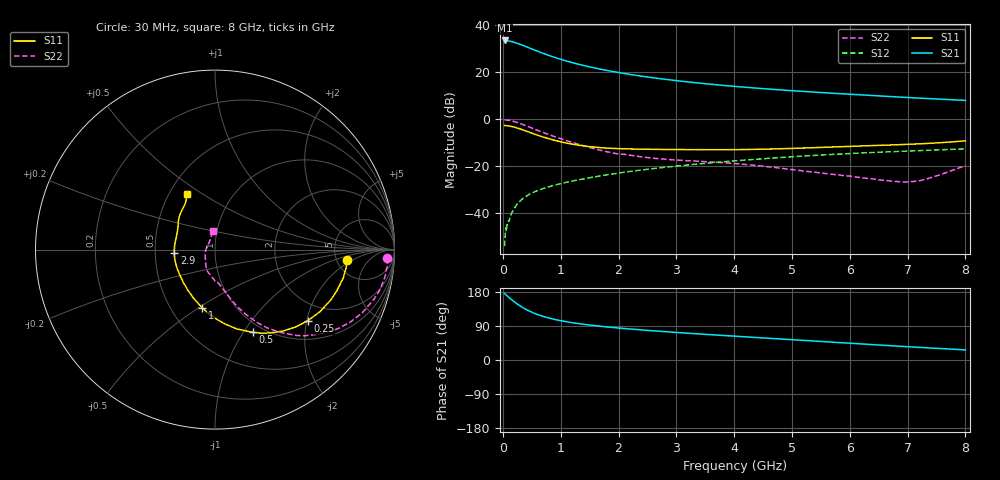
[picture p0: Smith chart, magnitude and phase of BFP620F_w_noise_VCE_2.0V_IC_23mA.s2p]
! Infineon Technologies  Discrete & RF Semiconductors
! BFP620F
! VCE =  2.0 V,  IC =  23 mA
! Common Emitter S-Parameters:  Dec 2014
# GHz  S  MA  R  50
!  f  S11  S21  S12  S22
! GHz  MAG  ANG  MAG  ANG  MAG  ANG  MAG  ANG
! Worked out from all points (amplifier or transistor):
!   95 points, 30 MHz to 8 GHz, reference 50 ohm
!   highest |S21| = 33.5 dB at 30 MHz (marker M1)
!   |S21| within 3 dB of that: start of sweep to 438.8 MHz
!   unconditionally stable (mu >= 1): 2.735 GHz to end of sweep
!   at 300 MHz: K = 0.34, MSG = 33.3 dB, |S12| = -34.7 dB
!   at 3.3 GHz: K = 1.02, MAG = 16.6 dB, |S12| = -19.2 dB
!   at 8 GHz: K = 1.06, MAG = 8.8 dB, |S12| = -12.6 dB
!   lowest NFmin = 0.94 dB at 450 MHz
!   S11 on the Smith chart (normalised r, x): 30 MHz: 6.13, -1.61; 250 MHz: 1.47, -2.03; 500 MHz: 0.89, -1.10; 1 GHz: 0.71, -0.52; 2.9 GHz: 0.63, -0.03; 8 GHz: 0.61, +0.43
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0.03  0.7356 -4.7  47.53 175.5  0.002 72.0  0.9594 -2.8
0.08  0.7319 -12.7  46.93 168.5  0.0057 85.7  0.9589 -9.2
0.14  0.7072 -22.0  45.22 160.6  0.0093 78.0  0.9308 -16.6
0.2  0.679 -30.7  43.16 153.4  0.0128 76.4  0.8928 -23.2
0.25  0.6512 -37.5  41.26 147.7  0.016 72.6  0.8551 -28.2
0.3  0.6229 -43.8  39.25 142.5  0.0184 70.3  0.8137 -32.8
0.35  0.5922 -49.9  37.13 137.8  0.0209 69.4  0.771 -36.9
0.4  0.5615 -55.5  35.17 133.5  0.0228 68.1  0.7285 -40.6
0.5  0.5072 -65.4  31.37 126.1  0.027 65.4  0.6529 -47.0
0.6  0.459 -74.5  28.04 119.9  0.0305 64.1  0.5826 -52.1
0.7  0.4185 -82.3  25.18 114.8  0.0337 63.0  0.5231 -56.4
0.8  0.3845 -89.5  22.72 110.6  0.0368 62.7  0.4704 -59.9
1  0.3325 -102.4  18.89 103.7  0.0427 62.1  0.3871 -65.4
1.2  0.2965 -113.7  16.06 98.4  0.0485 62.1  0.3229 -69.8
1.4  0.2722 -123.9  13.92 94.2  0.0541 61.7  0.2726 -73.6
2  0.2372 -149.5  9.884 84.5  0.0717 60.6  0.1825 -85.7
2.7  0.2291 -170.3  7.369 76.0  0.0922 58.1  0.1449 -99.6
2.9  0.2279 -175.0  6.867 73.8  0.0982 57.4  0.1386 -102.9
4.1  0.2268 161.8  4.906 62.0  0.1331 51.4  0.1122 -115.8
5.4  0.2498 145.4  3.778 49.9  0.1706 43.5  0.0749 -136.2
6.7  0.2839 131.1  3.049 37.8  0.2039 34.8  0.0487 172.6
8  0.3482 117.0  2.527 26.6  0.235 26.1  0.1029 97.5
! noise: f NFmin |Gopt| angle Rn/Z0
0.45  0.94  0.04  2  0.2
0.9  0.98  0.02  6  0.17
1.5  1  0.01  -9  0.15
1.8  1.02  0.01  -17  0.16
1.9  1.02  0  51  0.16
2.4  1.05  0.03  -153  0.15
3.5  1.13  0.06  -161  0.15
5.5  1.28  0.17  234  0.11
6  1.32  0.16  256  0.14
